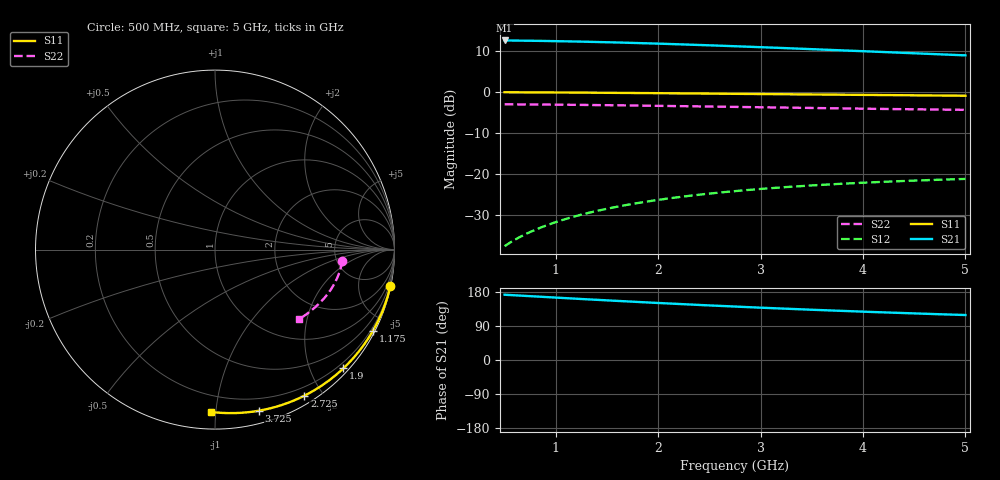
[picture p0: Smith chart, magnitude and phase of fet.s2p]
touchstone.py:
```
"""
Module: touchstone.py
Chức năng:
1. Đọc file Touchstone v1 2 cổng (.s2p) từ máy đo VNA / phần mềm mô phỏng.
2. Chuyển dữ liệu sang mảng ma trận S phức (num_freqs, 2, 2).
3. Nội suy ma trận S tại tần số bất kỳ trong dải dữ liệu (cấm ngoại suy).
4. Ghi ma trận S ra file .s2p (để xuất kết quả mô phỏng).
5. (Phase 13) Chuẩn hóa lại (renormalize) S về trở kháng tham chiếu bất kỳ - thực/phức,
   mỗi cổng một giá trị - qua tham số z0 của s_interp(). z0=None (mặc định) giữ
   nguyên hành vi cũ: trả S theo đúng R của file.
"""

import os
import warnings
import numpy as np

FREQ_MULT = {'HZ': 1.0, 'KHZ': 1e3, 'MHZ': 1e6, 'GHZ': 1e9}


class Touchstone2P:
    """Lưu trữ và xử lý dữ liệu file .s2p của mạng 2 cổng."""

    def __init__(self, filename=None):
        self.filename = filename
        self.freqs = np.array([])        # Tần số (Hz), tăng dần
        self.s_matrices = np.array([])   # (num_freqs, 2, 2), complex
        self.z0 = 50.0                   # Trở kháng tham chiếu của file (Ohm)
        self.freq_unit = "GHZ"           # Mặc định của chuẩn Touchstone
        self.data_format = "MA"          # Mặc định của chuẩn Touchstone
        self._warned_z0 = False          # đã cảnh báo "R != 50" cho s_interp(z0=None) chưa

        if filename is not None:
            self.load(filename)

    # -----------------------------------------------------------------
    def load(self, filename):
        """
        Đọc và phân tích cú pháp file .s2p.
        - Chú thích: mọi thứ sau '!' (kể cả cuối dòng dữ liệu) bị bỏ qua.
        - Dòng tùy chọn '#': # <Hz|kHz|MHz|GHz> S <MA|DB|RI> R <Z0>
        - Dữ liệu: mỗi bản ghi 9 số (f, S11, S21, S12, S22), được phép xuống dòng.
        """
        self.filename = filename
        mult = FREQ_MULT[self.freq_unit]
        fmt = self.data_format
        option_seen = False
        numbers = []

        with open(filename, 'r', encoding='utf-8') as f:
            for line_no, line in enumerate(f, 1):
                line_str = line.split('!', 1)[0].strip()      # bỏ chú thích
                if not line_str:
                    continue

                if line_str.startswith('#'):
                    if option_seen:                           # chuẩn: chỉ dòng '#' đầu tiên có hiệu lực
                        continue
                    option_seen = True
                    tokens = line_str[1:].upper().split()
                    i = 0
                    while i < len(tokens):
                        tok = tokens[i]
                        if tok in FREQ_MULT:
                            mult = FREQ_MULT[tok]
                            self.freq_unit = tok
                        elif tok in ("MA", "DB", "RI"):
                            fmt = tok
                            self.data_format = tok
                        elif tok in ("Y", "Z", "H", "G"):
                            raise NotImplementedError(f"Chỉ hỗ trợ tham số S, file dùng '{tok}'")
                        elif tok == "R" and i + 1 < len(tokens):
                            self.z0 = float(tokens[i + 1])
                            i += 1
                        i += 1
                    continue

                try:
                    numbers.extend(float(x) for x in line_str.split())
                except ValueError:
                    raise ValueError(f"{filename}, dòng {line_no}: dữ liệu không phải số: {line_str!r}")

        if len(numbers) % 9 != 0:
            raise ValueError(f"{filename}: số lượng giá trị ({len(numbers)}) không chia hết cho 9 "
                             f"-> file không phải 2 cổng hoặc bị thiếu dữ liệu")
        data = np.array(numbers).reshape(-1, 9)
        if data.shape[0] == 0:
            raise ValueError(f"{filename}: không có dòng dữ liệu")

        freq_list, s_list = [], []
        for row in data:
            s11 = self._parse_s_pair(row[1], row[2], fmt)
            s21 = self._parse_s_pair(row[3], row[4], fmt)
            s12 = self._parse_s_pair(row[5], row[6], fmt)
            s22 = self._parse_s_pair(row[7], row[8], fmt)
            # Thứ tự trong file 2 cổng là S11, S21, S12, S22 -> lắp đúng vị trí ma trận
            s_list.append(np.array([[s11, s12],
                                    [s21, s22]], dtype=complex))
            freq_list.append(row[0] * mult)

        self.freqs = np.array(freq_list, dtype=float)
        self.s_matrices = np.array(s_list, dtype=complex)

        if np.any(np.diff(self.freqs) <= 0):
            raise ValueError(f"{filename}: tần số phải tăng dần và không trùng lặp")
        # Cảnh báo "R != 50" được dời sang s_interp() (chỉ khi người dùng KHÔNG yêu cầu
        # chuẩn hóa: z0=None), để file R != 50 dùng đúng cách (z0=...) không bị cảnh báo thừa.
        self._warned_z0 = False
        return self

    # -----------------------------------------------------------------
    @staticmethod
    def _parse_s_pair(val1, val2, fmt):
        """
        Quy đổi cặp (val1, val2) sang số phức theo định dạng fmt.
        - MA: |S|, góc (độ)    - DB: 20*log10|S|, góc (độ)    - RI: phần thực, phần ảo
        """
        if fmt == "MA":
            return val1 * np.exp(1j * np.deg2rad(val2))
        if fmt == "DB":
            return 10.0 ** (val1 / 20.0) * np.exp(1j * np.deg2rad(val2))
        if fmt == "RI":
            return complex(val1, val2)
        raise ValueError(f"Định dạng {fmt} không hợp lệ.")

    # -----------------------------------------------------------------
    def s_interp(self, f_target, mode="ri", z0=None):
        """
        Nội suy tuyến tính ma trận S tại tần số f_target (Hz).
        mode = "ri": nội suy phần thực, phần ảo độc lập (mặc định, giống scikit-rf).
        mode = "ma": nội suy biên độ và pha đã unwrap (tốt hơn khi pha quay nhanh).
        Báo lỗi nếu f_target nằm ngoài dải dữ liệu (np.interp sẽ lặng lẽ lấy giá trị biên).

        z0 (mới, tùy chọn):
          None (mặc định) -> trả S theo ĐÚNG trở kháng tham chiếu của file (self.z0),
                             như phiên bản cũ. Nếu self.z0 != 50 sẽ cảnh báo một lần.
          số (thực/phức) hoặc list 2 phần tử [z0_cổng1, z0_cổng2]
                          -> chuẩn hóa lại S từ self.z0 sang z0 (power-wave, Kurokawa,
                             components.renormalize_general). Nếu z0 trùng self.z0
                             thì KHÔNG tính gì thêm (giữ nguyên từng bit).
        """
        if len(self.freqs) == 0:
            raise ValueError("Chưa có dữ liệu tần số để nội suy.")
        f_target = float(f_target)
        f_lo, f_hi = self.freqs[0], self.freqs[-1]
        tol = 1e-9 * f_hi
        if f_target < f_lo - tol or f_target > f_hi + tol:
            raise ValueError(f"Tần số {f_target/1e9:.4f} GHz nằm ngoài dải dữ liệu "
                             f"[{f_lo/1e9:.4f}, {f_hi/1e9:.4f}] GHz của {self.filename}")

        s_target = np.zeros((2, 2), dtype=complex)
        for i in range(2):
            for j in range(2):
                sij = self.s_matrices[:, i, j]
                if mode == "ri":
                    re = np.interp(f_target, self.freqs, sij.real)
                    im = np.interp(f_target, self.freqs, sij.imag)
                    s_target[i, j] = re + 1j * im
                elif mode == "ma":
                    mag = np.interp(f_target, self.freqs, np.abs(sij))
                    ph = np.interp(f_target, self.freqs, np.unwrap(np.angle(sij)))
                    s_target[i, j] = mag * np.exp(1j * ph)
                else:
                    raise ValueError("mode phải là 'ri' hoặc 'ma'")

        if z0 is None:
            if self.z0 != 50.0 and not self._warned_z0:
                self._warned_z0 = True
                warnings.warn(f"{self.filename}: trở kháng tham chiếu R = {self.z0} Ohm khác 50 Ohm; "
                              f"S trả về còn ở R của file. Dùng s_interp(..., z0=50) để chuẩn hóa lại "
                              f"(renormalize) trước khi ghép vào mạch 50 Ohm.")
            return s_target

        z_new = np.atleast_1d(np.asarray(z0, dtype=complex))
        if z_new.size == 1:
            z_new = np.repeat(z_new, 2)
        if z_new.shape != (2,):
            raise ValueError("z0 phải là một số hoặc list 2 phần tử (cổng 1, cổng 2)")
        if np.any(z_new.real <= 0):
            raise ValueError("z0 phải có phần thực > 0")
        if np.all(z_new == self.z0):          # cùng tham chiếu -> không đổi (bit-exact)
            return s_target
        from components import renormalize_general     # import muộn: tránh phụ thuộc vòng
        return renormalize_general(s_target, self.z0, z_new)


def load_s2p(filename):
    """
    Hàm tiện ích để Người C import và dùng ngay.
        ts = load_s2p("fet.s2p");  S = ts.s_interp(2.4e9)
    """
    return Touchstone2P(filename)


def save_s2p(filename, freqs, s_matrices, z0=50.0, fmt="RI", freq_unit="GHz", comment=""):
    """Ghi mảng S (num_freqs, 2, 2) ra file .s2p (thứ tự S11 S21 S12 S22)."""
    fmt = fmt.upper()
    mult = FREQ_MULT[freq_unit.upper()]
    with open(filename, "w", encoding="utf-8") as fh:
        for line in comment.splitlines():
            fh.write(f"! {line}\n")
        fh.write(f"# {freq_unit} S {fmt} R {z0:g}\n")
        for f, S in zip(freqs, s_matrices):
            vals = []
            for s in (S[0, 0], S[1, 0], S[0, 1], S[1, 1]):
                if fmt == "RI":
                    vals += [s.real, s.imag]
                elif fmt == "MA":
                    vals += [abs(s), np.angle(s, deg=True)]
                else:
                    vals += [20 * np.log10(abs(s)), np.angle(s, deg=True)]
            fh.write(f"{f / mult:.10g} " + " ".join(f"{v:.12g}" for v in vals) + "\n")


# =====================================================================
# BỘ TEST TỰ ĐỘNG & TẠO FILE MẪU DEMO
# =====================================================================
def self_test():
    import tempfile
    from components import renormalize_general, tline_general

    results = []

    def check(name, ok, extra=""):
        results.append(bool(ok))
        print(f"[{'PASS' if ok else 'FAIL'}] {name} {extra}")

    here = os.path.dirname(os.path.abspath(__file__))
    print("=" * 60)
    print("KIỂM THỬ MODULE TOUCHSTONE.PY (NGƯỜI B)")
    print("=" * 60)

    with tempfile.TemporaryDirectory() as tmp:
        # 1. File mẫu: đoạn dây lambda/4 tại 2.4 GHz (có chú thích cuối dòng, bản ghi xuống dòng)
        dummy = os.path.join(tmp, "sample_line.s2p")
        with open(dummy, "w", encoding="utf-8") as f:
            f.write("""! File mau: doan day ly tuong lambda/4 tai 2.4 GHz
# GHz S MA R 50.0
2.0  0.00 0.00  1.00 -75.00  1.00 -75.00  0.00 0.00   ! chu thich cuoi dong
2.4  0.00 0.00  1.00 -90.00
     1.00 -90.00  0.00 0.00                            ! ban ghi xuong dong
3.0  0.00 0.00  1.00 -112.5  1.00 -112.5  0.00 0.00
""")
        ts = load_s2p(dummy)
        check("1. Đọc file (chú thích cuối dòng, bản ghi xuống dòng), S21(2.4 GHz) = -j",
              len(ts.freqs) == 3 and np.isclose(ts.freqs[1], 2.4e9) and np.isclose(ts.s_matrices[1, 1, 0], -1j))

        # 2. Ba định dạng cho cùng dữ liệu
        tmp_s2p = os.path.join(tmp, "tmp.s2p")
        ok = True
        for fmt in ("RI", "MA", "DB"):
            save_s2p(tmp_s2p, ts.freqs, ts.s_matrices + 0.1, fmt=fmt)
            ok &= np.allclose(load_s2p(tmp_s2p).s_matrices, ts.s_matrices + 0.1, atol=1e-10)
        check("2. Ghi rồi đọc lại đúng ở cả ba định dạng RI, MA, DB", ok)

        # 3. Nội suy tại trung điểm 2.2 GHz
        s22 = ts.s_interp(2.2e9)
        s22ma = ts.s_interp(2.2e9, mode="ma")
        check(f"3. Nội suy 2.2 GHz: RI |S21| = {abs(s22[1, 0]):.4f} (= cos 7.5°), "
              f"MA |S21| = {abs(s22ma[1, 0]):.4f}, góc {np.angle(s22ma[1, 0], deg=True):.1f}°",
              np.isclose(abs(s22[1, 0]), np.cos(np.deg2rad(7.5))) and np.isclose(abs(s22ma[1, 0]), 1.0)
              and np.isclose(np.angle(s22ma[1, 0], deg=True), -82.5))

        # 4. Cấm ngoại suy
        try:
            ts.s_interp(3.5e9)
            ok = False
        except ValueError:
            ok = True
        check("4. Báo lỗi khi tần số nằm ngoài dải dữ liệu", ok)

        # 5. File R = 50: z0=50 phải trùng từng bit với z0=None và không cảnh báo
        files = [(os.path.join(here, "fet.s2p"), "ri"), (os.path.join(here, "test.s2p"), "ma"), (dummy, "ma")]
        for path, mode in files:
            if not os.path.exists(path):
                print(f"[SKIP] 5. {os.path.basename(path)} không có trong thư mục")
                continue
            t5 = load_s2p(path)
            f = 0.5 * (t5.freqs[0] + t5.freqs[-1])
            name = os.path.basename(path)
            check(f"5. {name}: s_interp(z0=50) / [50,50] / 50+0j == s_interp() từng bit",
                  np.array_equal(t5.s_interp(f, mode=mode), t5.s_interp(f, mode=mode, z0=50))
                  and np.array_equal(t5.s_interp(f, mode=mode), t5.s_interp(f, mode=mode, z0=[50, 50]))
                  and np.array_equal(t5.s_interp(f, mode=mode), t5.s_interp(f, mode=mode, z0=50 + 0j)))
            with warnings.catch_warnings(record=True) as w:
                warnings.simplefilter("always")
                t5.s_interp(f, mode=mode)
            check(f"5. {name}: R=50 -> không cảnh báo", len(w) == 0)

        # 6. File lambda/4, Zc = 75, R = 75: chuẩn hóa lại sang Z0 khác
        q = np.array([[0, -1j], [-1j, 0]])
        path = os.path.join(tmp, "q75.s2p")
        save_s2p(path, np.array([1e9, 3e9]), np.array([q, q]), z0=75.0, fmt="RI", freq_unit="GHz")
        t75 = load_s2p(path)
        check("6. Đọc R=75 từ header", t75.z0 == 75.0)
        with warnings.catch_warnings(record=True) as w:
            warnings.simplefilter("always")
            S_native = t75.s_interp(2e9)
            t75.s_interp(2e9)
        check("6. z0=None, R=75: trả S gốc + cảnh báo đúng 1 lần", np.allclose(S_native, q) and len(w) == 1)
        with warnings.catch_warnings(record=True) as w:
            warnings.simplefilter("always")
            S50 = t75.s_interp(2e9, z0=50)
        check("6. z0=50: không cảnh báo", len(w) == 0)
        check("6. R=75 -> 50 khớp lý thuyết đường 75 ohm (S11=0.3846, S21=-0.9231j)",
              np.allclose(S50, tline_general(np.pi / 2, 75.0, 50.0), atol=1e-12)
              and abs(S50[0, 0] - 3125 / 8125) < 1e-12)
        check("6. z0 = R của file: trả S gốc", np.array_equal(t75.s_interp(2e9, z0=75), S_native))
        zc = [50 + 10j, 60 - 5j]
        S_c = t75.s_interp(2e9, z0=zc)
        check("6. z0 phức, khác nhau từng cổng = renormalize_general",
              np.allclose(S_c, renormalize_general(q, 75.0, zc), atol=1e-13))
        check("6. Đi rồi về (75 -> phức -> 75) ra S gốc", np.allclose(renormalize_general(S_c, zc, 75.0), q, atol=1e-12))
        for badz in (-50, 0, [50, 50, 50]):
            try:
                t75.s_interp(2e9, z0=badz)
                ok = False
            except ValueError:
                ok = True
            check(f"6. z0={badz!r} -> ValueError", ok)

    print(f"\n=> {sum(results)}/{len(results)} PASS")
    return all(results)


if __name__ == "__main__":
    raise SystemExit(0 if self_test() else 1)
```
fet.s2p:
! FET tín hiệu nhỏ (mô hình nội: Cgs=0.5pF Cgd=0.05pF Cds=0.1pF gm=50mS Rds=300 Ri=4 tau=1ps)
! KHÔNG THUẬN NGHỊCH: S21 != S12 -> dùng để kiểm chứng thuật toán nối cổng
# GHz S RI R 50
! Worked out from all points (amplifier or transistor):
!   181 points, 500 MHz to 5 GHz, reference 50 ohm
!   highest |S21| = 12.6 dB at 500 MHz (marker M1)
!   |S21| within 3 dB of that: start of sweep to 4.383 GHz
!   unconditionally stable (mu >= 1): nowhere
!   at 1.25 GHz: K = 0.05, MSG = 21.0 dB, |S12| = -29.8 dB
!   at 2.75 GHz: K = 0.12, MSG = 17.6 dB, |S12| = -24.1 dB
!   at 5 GHz: K = 0.21, MSG = 15.0 dB, |S12| = -21.1 dB
!   S11 on the Smith chart (normalised r, x): 500 MHz: 0.10, -9.69; 1.175 GHz: 0.10, -4.12; 1.9 GHz: 0.10, -2.55; 2.725 GHz: 0.10, -1.78; 3.725 GHz: 0.10, -1.30; 5 GHz: 0.10, -0.97
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0.5  0.9769 -0.2038  -4.219 0.5752  0.00164 0.0133  0.7091 -0.0629
0.8  0.942 -0.3198  -4.118 0.9018  0.00412 0.0208  0.7014 -0.0993
1.175  0.8794 -0.4529  -3.937 1.276  0.00856 0.0293  0.6873 -0.1424
1.9  0.7153 -0.6615  -3.462 1.857  0.0202 0.0423  0.6503 -0.2152
2.3  0.6113 -0.7463  -3.162 2.09  0.0275 0.0473  0.6264 -0.249
2.725  0.498 -0.814  -2.834 2.272  0.0355 0.0511  0.6001 -0.2801
2.75  0.4913 -0.8173  -2.815 2.281  0.0359 0.0512  0.5985 -0.2818
3.225  0.3672 -0.8674  -2.457 2.411  0.0446 0.0536  0.5691 -0.3111
3.725  0.2441 -0.8977  -2.103 2.482  0.0532 0.0544  0.5391 -0.3371
4.325  0.1104 -0.9108  -1.719 2.501  0.0624 0.0538  0.5052 -0.3631
5  -0.0202 -0.9047  -1.346 2.461  0.0713 0.0516  0.4703 -0.3876
